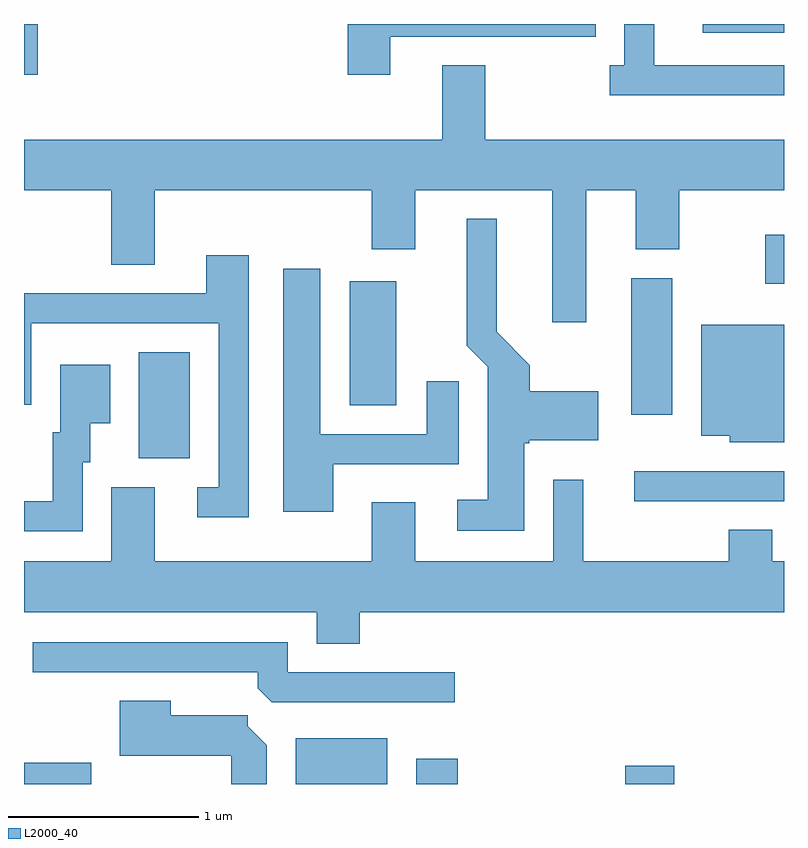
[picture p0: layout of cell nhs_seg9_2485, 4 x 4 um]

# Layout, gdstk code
import gdstk
lib = gdstk.Library(unit=1e-6, precision=1e-09)
def R(c, l, rs):  # rectangles x0, y0, x1, y1
    for r in rs: c.add(gdstk.rectangle(r[:2], r[2:], *l))
def P(c, l, *ps):  # polygons
    for p in ps: c.add(gdstk.Polygon(p, *l))
L2000_40 = (2000, 40)

nhs_seg9_2485 = lib.new_cell('nhs_seg9_2485')
R(nhs_seg9_2485, L2000_40, [(257.611,2026.432,257.964,2026.544), (259.041,2026.432,259.524,2026.674), (259.676,2026.432,259.894,2026.564), (260.776,2026.432,261.034,2026.529), (260.823,2027.921,261.611,2028.079), (258.216,2028.146,258.484,2028.704), (260.806,2028.376,261.024,2029.094), (259.326,2028.426,259.569,2029.079), (261.511,2029.066,261.611,2029.324), (257.611,2030.166,257.684,2030.432), (261.183,2030.386,261.611,2030.432)])
P(nhs_seg9_2485, L2000_40, [(261.611,2030.214),(260.929,2030.214),(260.929,2030.432),(260.771,2030.432),(260.771,2030.214),(260.693,2030.214),(260.693,2030.056),(261.611,2030.056)],
  [(259.539,2030.366),(260.619,2030.366),(260.619,2030.432),(259.316,2030.432),(259.316,2030.166),(259.539,2030.166)],
  [(260.569,2029.556),(260.831,2029.556),(260.831,2029.246),(261.059,2029.246),(261.059,2029.556),(261.611,2029.556),(261.611,2029.824),(260.039,2029.824),(260.039,2030.214),(259.811,2030.214),(259.811,2029.824),(257.611,2029.824),(257.611,2029.556),(258.071,2029.556),(258.071,2029.166),(258.299,2029.166),(258.299,2029.556),(259.441,2029.556),(259.441,2029.246),(259.669,2029.246),(259.669,2029.556),(260.391,2029.556),(260.391,2028.861),(260.569,2028.861)],
  [(260.244,2028.226),(260.27,2028.226),(260.27,2028.241),(260.634,2028.241),(260.634,2028.499),(260.274,2028.499),(260.274,2028.637),(260.099,2028.812),(260.099,2029.408),(259.941,2029.408),(259.941,2028.739),(260.051,2028.629),(260.051,2027.929),(259.892,2027.929),(259.892,2027.766),(260.244,2027.766)],
  [(258.794,2029.214),(258.571,2029.214),(258.571,2029.014),(257.611,2029.014),(257.611,2028.428),(257.649,2028.428),(257.649,2028.856),(258.636,2028.856),(258.636,2027.994),(258.522,2027.994),(258.522,2027.836),(258.794,2027.836)],
  [(259.239,2028.116),(259.899,2028.116),(259.899,2028.553),(259.731,2028.553),(259.731,2028.274),(259.169,2028.274),(259.169,2029.144),(258.976,2029.144),(258.976,2027.866),(259.239,2027.866)],
  [(261.611,2028.849),(261.176,2028.849),(261.176,2028.266),(261.326,2028.266),(261.326,2028.231),(261.611,2028.231)],
  [(257.919,2028.126),(257.959,2028.126),(257.959,2028.331),(258.064,2028.331),(258.064,2028.639),(257.801,2028.639),(257.801,2028.284),(257.761,2028.284),(257.761,2027.919),(257.611,2027.919),(257.611,2027.761),(257.919,2027.761)],
  [(259.379,2027.336),(261.611,2027.336),(261.611,2027.604),(261.549,2027.604),(261.549,2027.769),(261.321,2027.769),(261.321,2027.604),(260.554,2027.604),(260.554,2028.033),(260.396,2028.033),(260.396,2027.604),(259.669,2027.604),(259.669,2027.914),(259.441,2027.914),(259.441,2027.604),(258.299,2027.604),(258.299,2027.994),(258.071,2027.994),(258.071,2027.604),(257.611,2027.604),(257.611,2027.336),(259.151,2027.336),(259.151,2027.171),(259.379,2027.171)],
  [(259.878,2027.019),(258.999,2027.019),(258.999,2027.179),(257.658,2027.179),(257.658,2027.021),(258.841,2027.021),(258.841,2026.937),(258.916,2026.861),(259.878,2026.861)],
  [(258.889,2026.637),(258.789,2026.737),(258.789,2026.794),(258.384,2026.794),(258.384,2026.869),(258.116,2026.869),(258.116,2026.581),(258.701,2026.581),(258.701,2026.432),(258.889,2026.432)])

lib.write_gds('nhs_seg9_2485.gds')
